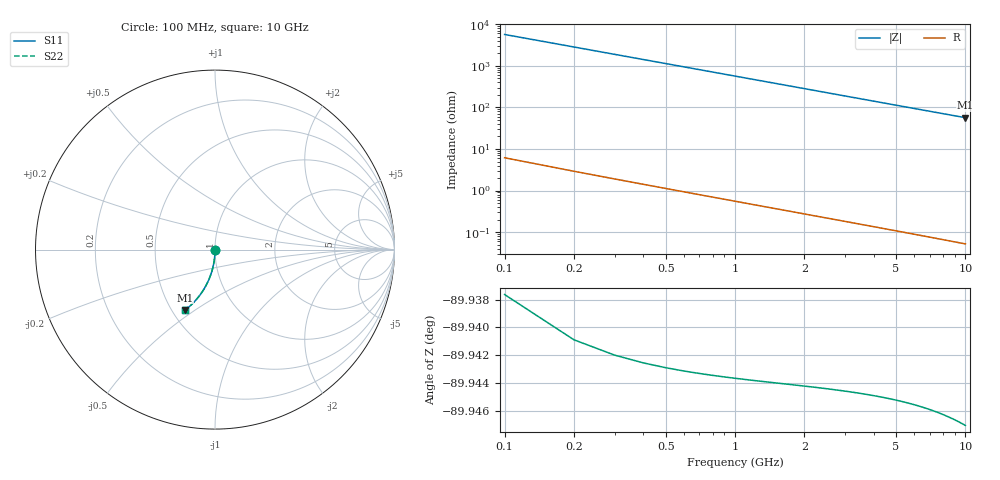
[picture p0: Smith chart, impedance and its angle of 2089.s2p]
# Hz S RI R 50.00
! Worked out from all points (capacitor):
!   100 points, 100 MHz to 10 GHz, reference 50 ohm
!   read as one part in shunt: C = 282 fF near 100 MHz
!   lowest |Z| = 56.6 ohm at 10 GHz (marker M1)
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1e8  0.000103 -0.00406  0.9998 -0.00478  0.9998 -0.00478  0.000103 -0.00406
2e8  4.1e-05 -0.00813  0.9998 -0.00957  0.9998 -0.00957  4.1e-05 -0.00813
3e8  -5.98e-05 -0.0122  0.9997 -0.0143  0.9997 -0.0143  -5.98e-05 -0.0122
4e8  -0.0002 -0.0163  0.9995 -0.0191  0.9995 -0.0191  -0.0002 -0.0163
5e8  -0.000378 -0.0203  0.9994 -0.0239  0.9994 -0.0239  -0.000378 -0.0203
6e8  -0.000596 -0.0244  0.9991 -0.0287  0.9991 -0.0287  -0.000596 -0.0244
7e8  -0.000853 -0.0284  0.9989 -0.0335  0.9989 -0.0335  -0.000853 -0.0284
8e8  -0.00115 -0.0325  0.9986 -0.0382  0.9986 -0.0382  -0.00115 -0.0325
9e8  -0.00148 -0.0365  0.9982 -0.043  0.9982 -0.043  -0.00148 -0.0365
1.1e9  -0.00227 -0.0446  0.9974 -0.0525  0.9974 -0.0525  -0.00227 -0.0446
1.4e9  -0.00373 -0.0567  0.996 -0.0668  0.996 -0.0668  -0.00373 -0.0567
1.8e9  -0.00622 -0.0727  0.9934 -0.0857  0.9934 -0.0857  -0.00622 -0.0727
2.1e9  -0.00848 -0.0847  0.9911 -0.0998  0.9911 -0.0998  -0.00848 -0.0847
2.5e9  -0.012 -0.1004  0.9875 -0.1185  0.9875 -0.1185  -0.012 -0.1004
2.9e9  -0.0161 -0.116  0.9834 -0.1369  0.9834 -0.1369  -0.0161 -0.116
3.4e9  -0.0221 -0.1352  0.9773 -0.1598  0.9773 -0.1598  -0.0221 -0.1352
4.2e9  -0.0334 -0.1651  0.9658 -0.1954  0.9658 -0.1954  -0.0334 -0.1651
5.1e9  -0.0487 -0.1973  0.9504 -0.2342  0.9504 -0.2342  -0.0487 -0.1973
5.9e9  -0.0643 -0.2244  0.9345 -0.2672  0.9345 -0.2672  -0.0643 -0.2244
6.7e9  -0.0815 -0.25  0.917 -0.2986  0.917 -0.2986  -0.0815 -0.25
8.4e9  -0.1231 -0.2987  0.8747 -0.3599  0.8747 -0.3599  -0.1231 -0.2987
1e10  -0.1667 -0.337  0.8303 -0.4101  0.8303 -0.4101  -0.1667 -0.337
